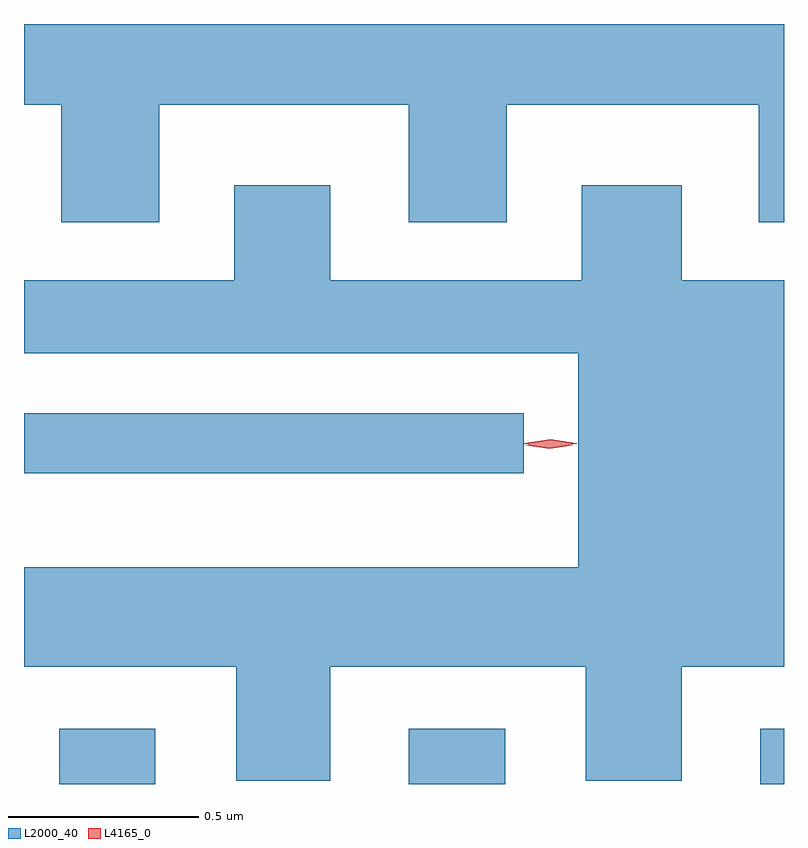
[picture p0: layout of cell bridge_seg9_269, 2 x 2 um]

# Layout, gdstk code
import gdstk
lib = gdstk.Library(unit=1e-6, precision=1e-09)
def R(c, l, rs):  # rectangles x0, y0, x1, y1
    for r in rs: c.add(gdstk.rectangle(r[:2], r[2:], *l))
def P(c, l, *ps):  # polygons
    for p in ps: c.add(gdstk.Polygon(p, *l))
L2000_40 = (2000, 40)
L4165_0 = (4165, 0)

bridge_seg9_269 = lib.new_cell('bridge_seg9_269')
R(bridge_seg9_269, L2000_40, [(1343.766,1990.028,1344.019,1990.174), (1344.686,1990.028,1344.939,1990.174), (1345.611,1990.028,1345.673,1990.174), (1343.673,1990.846,1344.988,1991.004)])
P(bridge_seg9_269, L2000_40, [(1344.029,1991.816),(1344.686,1991.816),(1344.686,1991.506),(1344.944,1991.506),(1344.944,1991.816),(1345.606,1991.816),(1345.606,1991.506),(1345.673,1991.506),(1345.673,1992.028),(1343.673,1992.028),(1343.673,1991.816),(1343.771,1991.816),(1343.771,1991.506),(1344.029,1991.506)],
  [(1344.479,1990.336),(1345.151,1990.336),(1345.151,1990.036),(1345.404,1990.036),(1345.404,1990.336),(1345.673,1990.336),(1345.673,1991.354),(1345.404,1991.354),(1345.404,1991.604),(1345.141,1991.604),(1345.141,1991.354),(1344.479,1991.354),(1344.479,1991.604),(1344.226,1991.604),(1344.226,1991.354),(1343.673,1991.354),(1343.673,1991.161),(1345.131,1991.161),(1345.131,1990.599),(1343.673,1990.599),(1343.673,1990.336),(1344.231,1990.336),(1344.231,1990.036),(1344.479,1990.036)])
P(bridge_seg9_269, L4165_0, [(1345.055,1990.91),(1344.994,1990.919),(1344.993,1990.92),(1344.994,1990.92),(1345.055,1990.93),(1345.117,1990.92),(1345.118,1990.92),(1345.117,1990.919)],
  [(1345.059,1990.915),(1344.99,1990.924),(1344.99,1990.925),(1344.99,1990.925),(1345.059,1990.935),(1345.128,1990.925),(1345.128,1990.925),(1345.128,1990.924)])

lib.write_gds('bridge_seg9_269.gds')
